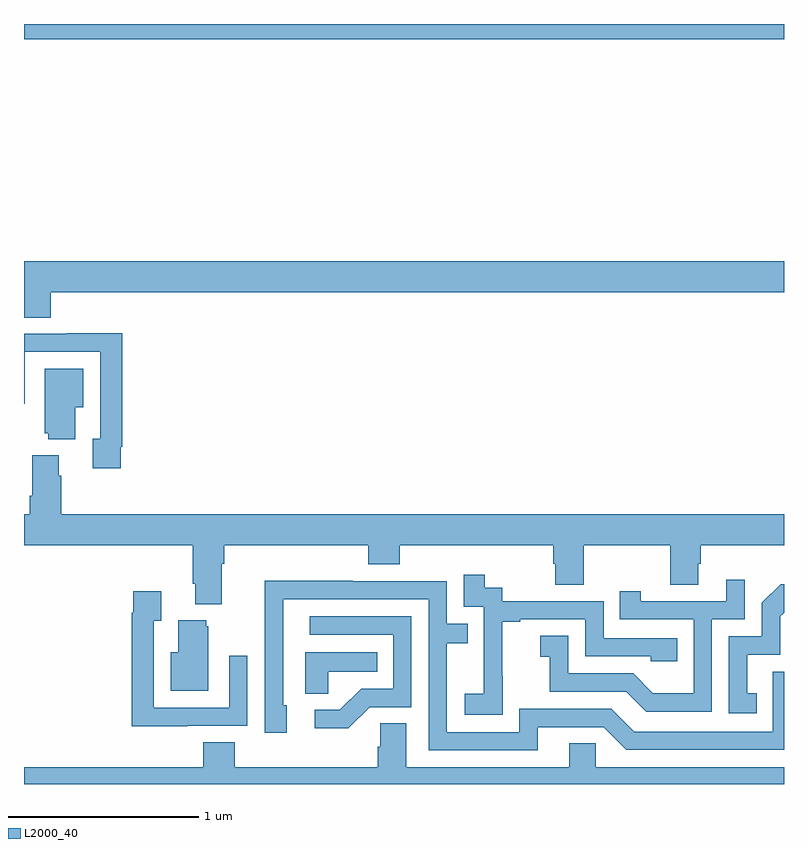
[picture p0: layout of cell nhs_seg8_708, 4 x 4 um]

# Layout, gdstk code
import gdstk
lib = gdstk.Library(unit=1e-6, precision=1e-09)
def R(c, l, rs):  # rectangles x0, y0, x1, y1
    for r in rs: c.add(gdstk.rectangle(r[:2], r[2:], *l))
def P(c, l, *ps):  # polygons
    for p in ps: c.add(gdstk.Polygon(p, *l))
L2000_40 = (2000, 40)

nhs_seg8_708 = lib.new_cell('nhs_seg8_708')
R(nhs_seg8_708, L2000_40, [(157,1129.82,161,1129.9)])
P(nhs_seg8_708, L2000_40, [(157.142,1128.488),(161,1128.488),(161,1128.652),(157,1128.652),(157,1128.355),(157.142,1128.355)],
  [(157.51,1127.674),(157.517,1127.674),(157.517,1128.272),(157.225,1128.272),(157.225,1128.27),(157,1128.27),(157,1127.901),(157.005,1127.901),(157.005,1128.174),(157.401,1128.174),(157.401,1127.718),(157.361,1127.718),(157.361,1127.562),(157.51,1127.562)],
  [(157.27,1127.882),(157.312,1127.882),(157.312,1128.085),(157.109,1128.085),(157.109,1127.745),(157.127,1127.745),(157.127,1127.714),(157.27,1127.714)],
  [(158.041,1127.06),(158.054,1127.06),(158.054,1127.156),(158.813,1127.156),(158.813,1127.057),(158.978,1127.057),(158.978,1127.156),(159.785,1127.156),(159.785,1127.058),(159.797,1127.058),(159.797,1126.948),(159.945,1126.948),(159.945,1127.156),(160.402,1127.156),(160.402,1126.948),(160.549,1126.948),(160.549,1127.058),(160.562,1127.058),(160.562,1127.156),(161,1127.156),(161,1127.32),(157.196,1127.32),(157.196,1127.522),(157.183,1127.522),(157.183,1127.629),(157.043,1127.629),(157.043,1127.416),(157.031,1127.416),(157.031,1127.32),(157,1127.32),(157,1127.156),(157.889,1127.156),(157.889,1126.954),(157.901,1126.954),(157.901,1126.847),(158.041,1126.847)],
  [(159.519,1126.471),(159.518,1126.471),(159.518,1126.755),(159.613,1126.755),(159.613,1126.767),(159.954,1126.767),(159.954,1126.572),(160.299,1126.572),(160.299,1126.545),(160.439,1126.545),(160.439,1126.668),(160.05,1126.668),(160.05,1126.863),(159.516,1126.863),(159.516,1126.932),(159.424,1126.932),(159.424,1127.002),(159.315,1127.002),(159.315,1126.833),(159.42,1126.833),(159.42,1126.604),(159.419,1126.604),(159.419,1126.375),(159.321,1126.375),(159.321,1126.265),(159.519,1126.265)],
  [(160.62,1126.767),(160.794,1126.767),(160.794,1126.975),(160.697,1126.975),(160.697,1126.863),(160.246,1126.863),(160.246,1126.915),(160.135,1126.915),(160.135,1126.767),(160.524,1126.767),(160.524,1126.378),(160.31,1126.378),(160.206,1126.482),(159.864,1126.482),(159.864,1126.681),(159.717,1126.681),(159.717,1126.571),(159.766,1126.571),(159.766,1126.386),(160.169,1126.386),(160.274,1126.281),(160.62,1126.281)],
  [(159.703,1126.2),(160.05,1126.2),(160.17,1126.08),(161,1126.08),(161,1126.491),(160.941,1126.491),(160.941,1126.176),(160.212,1126.176),(160.092,1126.296),(159.606,1126.296),(159.606,1126.173),(159.225,1126.173),(159.225,1126.642),(159.335,1126.642),(159.335,1126.743),(159.225,1126.743),(159.225,1126.968),(158.729,1126.968),(158.729,1126.97),(158.266,1126.97),(158.266,1126.663),(158.268,1126.663),(158.268,1126.17),(158.383,1126.17),(158.383,1126.314),(158.364,1126.314),(158.364,1126.872),(159.129,1126.872),(159.129,1126.077),(159.703,1126.077)],
  [(160.856,1126.377),(160.807,1126.377),(160.807,1126.581),(160.98,1126.581),(160.98,1126.782),(161,1126.802),(161,1126.952),(160.982,1126.952),(160.884,1126.854),(160.884,1126.677),(160.71,1126.677),(160.71,1126.272),(160.856,1126.272)],
  [(157.859,1126.206),(158.175,1126.206),(158.175,1126.576),(158.079,1126.576),(158.079,1126.302),(157.683,1126.302),(157.683,1126.759),(157.723,1126.759),(157.723,1126.915),(157.575,1126.915),(157.575,1126.802),(157.567,1126.802),(157.567,1126.205),(157.859,1126.205)],
  [(158.82,1126.305),(159.039,1126.305),(159.039,1126.782),(158.505,1126.782),(158.505,1126.686),(158.943,1126.686),(158.943,1126.401),(158.774,1126.401),(158.663,1126.29),(158.529,1126.29),(158.529,1126.193),(158.707,1126.193)],
  [(157.969,1126.731),(157.958,1126.731),(157.958,1126.762),(157.811,1126.762),(157.811,1126.594),(157.772,1126.594),(157.772,1126.391),(157.969,1126.391)],
  [(158.601,1126.49),(158.858,1126.49),(158.858,1126.594),(158.48,1126.594),(158.48,1126.375),(158.601,1126.375)],
  [(161,1125.988),(160.008,1125.988),(160.008,1126.115),(159.869,1126.115),(159.869,1125.988),(159.013,1125.988),(159.013,1126.22),(158.874,1126.22),(158.874,1126.097),(158.861,1126.097),(158.861,1125.988),(158.108,1125.988),(158.108,1126.121),(157.943,1126.121),(157.943,1125.988),(157,1125.988),(157,1125.9),(161,1125.9)])

lib.write_gds('nhs_seg8_708.gds')
